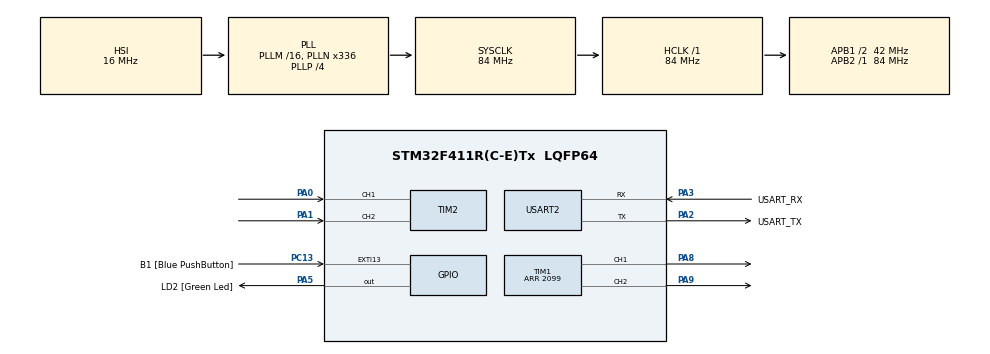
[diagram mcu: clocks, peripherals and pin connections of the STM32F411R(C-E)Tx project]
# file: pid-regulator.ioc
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Dma.Request0=USART2_TX
Dma.USART2_TX.0.Direction=DMA_MEMORY_TO_PERIPH
Dma.USART2_TX.0.FIFOMode=DMA_FIFOMODE_DISABLE
Dma.USART2_TX.0.Instance=DMA1_Stream6
Dma.USART2_TX.0.MemDataAlignment=DMA_MDATAALIGN_BYTE
Dma.USART2_TX.0.MemInc=DMA_MINC_ENABLE
Dma.USART2_TX.0.Mode=DMA_NORMAL
Dma.USART2_TX.0.PeriphDataAlignment=DMA_PDATAALIGN_BYTE
Dma.USART2_TX.0.PeriphInc=DMA_PINC_DISABLE
Dma.USART2_TX.0.Priority=DMA_PRIORITY_LOW
FREERTOS.Tasks01=defaultTask,24,128,StartDefaultTask,Default,NULL,Dynamic,NULL,NULL
Mcu.Family=STM32F4
Mcu.Name=STM32F411R(C-E)Tx
Mcu.Package=LQFP64
NVIC.DMA1_Stream6_IRQn=true\:5\:0\:false\:false\:true\:true\:false\:true\:true
NVIC.PriorityGroup=NVIC_PRIORITYGROUP_4
NVIC.TIM3_IRQn=true\:15\:0\:false\:false\:true\:false\:false\:true\:true
NVIC.TimeBase=TIM3_IRQn
NVIC.TimeBaseIP=TIM3
NVIC.USART2_IRQn=true\:5\:0\:false\:false\:true\:true\:true\:true\:true
PA0-WKUP.GPIO_PuPd=GPIO_PULLUP
PA0-WKUP.Signal=S_TIM2_CH1_ETR
PA1.GPIO_PuPd=GPIO_PULLUP
PA1.Signal=S_TIM2_CH2
PA13.GPIO_Label=TMS
PA13.Mode=Serial_Wire
PA13.Signal=SYS_JTMS-SWDIO
PA14.GPIO_Label=TCK
PA14.Mode=Serial_Wire
PA14.Signal=SYS_JTCK-SWCLK
PA2.GPIO_Label=USART_TX
PA2.Mode=Asynchronous
PA2.Signal=USART2_TX
PA3.GPIO_Label=USART_RX
PA3.Mode=Asynchronous
PA3.Signal=USART2_RX
PA5.GPIO_Label=LD2 [Green Led]
PA5.Signal=GPIO_Output
PA8.Signal=S_TIM1_CH1
PA9.Signal=S_TIM1_CH2
PB3.GPIO_Label=SWO
PB3.Signal=SYS_JTDO-SWO
PC13-ANTI_TAMP.GPIO_Label=B1 [Blue PushButton]
PC13-ANTI_TAMP.GPIO_ModeDefaultEXTI=GPIO_MODE_IT_FALLING
PC13-ANTI_TAMP.Signal=GPXTI13
PC14-OSC32_IN.Mode=LSE-External-Oscillator
PC14-OSC32_IN.Signal=RCC_OSC32_IN
PC15-OSC32_OUT.Mode=LSE-External-Oscillator
PC15-OSC32_OUT.Signal=RCC_OSC32_OUT
PH0\ -\ OSC_IN.Mode=HSE-External-Oscillator
PH0\ -\ OSC_IN.Signal=RCC_OSC_IN
PH1\ -\ OSC_OUT.Mode=HSE-External-Oscillator
PH1\ -\ OSC_OUT.Signal=RCC_OSC_OUT
ProjectManager.HeapSize=0x200
ProjectManager.StackSize=0x400
ProjectManager.TargetToolchain=CMake
RCC.48MHZClocksFreq_Value=84000000
RCC.AHBFreq_Value=84000000
RCC.APB1CLKDivider=RCC_HCLK_DIV2
RCC.APB1Freq_Value=42000000
RCC.APB1TimFreq_Value=84000000
RCC.APB2Freq_Value=84000000
RCC.APB2TimFreq_Value=84000000
RCC.CortexFreq_Value=84000000
RCC.FLatency-AdvancedSettings=FLASH_LATENCY_2
RCC.HCLKFreq_Value=84000000
RCC.HSE_VALUE=8000000
RCC.HSI_VALUE=16000000
RCC.PLLN=336
RCC.PLLP=RCC_PLLP_DIV4
RCC.SYSCLKFreq_VALUE=84000000
RCC.SYSCLKSource=RCC_SYSCLKSOURCE_PLLCLK
RCC.VCOOutputFreq_Value=336000000
SH.S_TIM1_CH1.0=TIM1_CH1,PWM Generation1 CH1
SH.S_TIM1_CH2.0=TIM1_CH2,PWM Generation2 CH2
SH.S_TIM2_CH1_ETR.0=TIM2_CH1,Encoder_Interface
SH.S_TIM2_CH2.0=TIM2_CH2,Encoder_Interface
TIM1.Channel-PWM\ Generation1\ CH1=TIM_CHANNEL_1
TIM1.Channel-PWM\ Generation2\ CH2=TIM_CHANNEL_2
TIM1.Period=2099
TIM2.EncoderMode=TIM_ENCODERMODE_TI12
USART2.VirtualMode=VM_ASYNC
VP_FREERTOS_VS_CMSIS_V2.Mode=CMSIS_V2
VP_SYS_VS_tim3.Mode=TIM3
board=NUCLEO-F411RE

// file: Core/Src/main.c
/* USER CODE BEGIN Header */
/**
  ******************************************************************************
  * @file           : main.c
  * @brief          : Main program body
  ******************************************************************************
  * @attention
  *
  * Copyright (c) 2026 STMicroelectronics.
  * All rights reserved.
  *
  * This software is licensed under terms that can be found in the LICENSE file
  * in the root directory of this software component.
  * If no LICENSE file comes with this software, it is provided AS-IS.
  *
  ******************************************************************************
  */
/* USER CODE END Header */
#include "main.h"
#include "cmsis_os.h"
#include "dma.h"
#include "tim.h"
#include "usart.h"
#include "gpio.h"

void SystemClock_Config(void);
void MX_FREERTOS_Init(void);

int main(void)
{

  /* MCU Configuration--------------------------------------------------------*/

  /* Reset of all peripherals, Initializes the Flash interface and the Systick. */
  HAL_Init();

  /* Configure the system clock */
  SystemClock_Config();

  /* Initialize all configured peripherals */
  MX_GPIO_Init();
  MX_DMA_Init();
  MX_TIM1_Init();
  MX_TIM2_Init();
  MX_USART2_UART_Init();
  /* USER CODE BEGIN 2 */
  HAL_TIM_Encoder_Start(&htim2, TIM_CHANNEL_ALL);
  /* USER CODE END 2 */

  /* Init scheduler */
  osKernelInitialize();  /* Call init function for freertos objects (in cmsis_os2.c) */
  MX_FREERTOS_Init();

  /* Start scheduler */
  osKernelStart();

  /* We should never get here as control is now taken by the scheduler */

  /* Infinite loop */
  while (1)
  {

  }
}

void SystemClock_Config(void)
{
  RCC_OscInitTypeDef RCC_OscInitStruct = {0};
  RCC_ClkInitTypeDef RCC_ClkInitStruct = {0};

  /** Configure the main internal regulator output voltage
  */
  __HAL_RCC_PWR_CLK_ENABLE();
  __HAL_PWR_VOLTAGESCALING_CONFIG(PWR_REGULATOR_VOLTAGE_SCALE1);

  /** Initializes the RCC Oscillators according to the specified parameters
  * in the RCC_OscInitTypeDef structure.
  */
  RCC_OscInitStruct.OscillatorType = RCC_OSCILLATORTYPE_HSI;
  RCC_OscInitStruct.HSIState = RCC_HSI_ON;
  RCC_OscInitStruct.HSICalibrationValue = RCC_HSICALIBRATION_DEFAULT;
  RCC_OscInitStruct.PLL.PLLState = RCC_PLL_ON;
  RCC_OscInitStruct.PLL.PLLSource = RCC_PLLSOURCE_HSI;
  RCC_OscInitStruct.PLL.PLLM = 16;
  RCC_OscInitStruct.PLL.PLLN = 336;
  RCC_OscInitStruct.PLL.PLLP = RCC_PLLP_DIV4;
  RCC_OscInitStruct.PLL.PLLQ = 4;
  if (HAL_RCC_OscConfig(&RCC_OscInitStruct) != HAL_OK)
  {
    Error_Handler();
  }

  /** Initializes the CPU, AHB and APB buses clocks
  */
  RCC_ClkInitStruct.ClockType = RCC_CLOCKTYPE_HCLK|RCC_CLOCKTYPE_SYSCLK
                              |RCC_CLOCKTYPE_PCLK1|RCC_CLOCKTYPE_PCLK2;
  RCC_ClkInitStruct.SYSCLKSource = RCC_SYSCLKSOURCE_PLLCLK;
  RCC_ClkInitStruct.AHBCLKDivider = RCC_SYSCLK_DIV1;
  RCC_ClkInitStruct.APB1CLKDivider = RCC_HCLK_DIV2;
  RCC_ClkInitStruct.APB2CLKDivider = RCC_HCLK_DIV1;

  if (HAL_RCC_ClockConfig(&RCC_ClkInitStruct, FLASH_LATENCY_2) != HAL_OK)
  {
    Error_Handler();
  }
}

/* USER CODE BEGIN 4 */

int __io_putchar(int ch)
{
  HAL_UART_Transmit(&huart2, (uint8_t *)&ch, 1, 100);
  return ch;
}

/* USER CODE END 4 */

void HAL_TIM_PeriodElapsedCallback(TIM_HandleTypeDef *htim)
{
  if (htim->Instance == TIM3)
  {
    HAL_IncTick();
  }
}

void Error_Handler(void)
{
  __disable_irq();
  while (1)
  {
  }
}

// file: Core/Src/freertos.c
/* USER CODE BEGIN Header */
/**

---

* File Name          : freertos.c
* Description        : Code for freertos applications

---

* @attention
*
* Copyright (c) 2026 STMicroelectronics.
* All rights reserved.
*
* This software is licensed under terms that can be found in the LICENSE file
* in the root directory of this software component.
* If no LICENSE file comes with this software, it is provided AS-IS.
*

---

*/
/* USER CODE END Header */

#include "FreeRTOS.h"
#include "task.h"
#include "main.h"
#include "cmsis_os.h"

/* USER CODE BEGIN Includes */
#include <stdio.h>

#include "global_vars.h"
#include "tim.h"
#include "hardware_layer/motor.h"
#include "logger/logger.h"
#include "application_layer/position_controller.h"
/* USER CODE END Includes */

/* USER CODE BEGIN Variables */

osThreadId_t pidTargetHandle;
const osThreadAttr_t pidTarget_attributes = {
.name = "pidTarget",
.stack_size = 128 * 4,
.priority = (osPriority_t) osPriorityNormal,
};

osThreadId_t pidTaskHandle;
const osThreadAttr_t pidTask_attributes = {
.name = "pidTask",
.stack_size = 1024,
.priority = (osPriority_t) osPriorityNormal,
};

osThreadId_t defaultTaskHandle;
const osThreadAttr_t defaultTask_attributes = {
.name = "defaultTask",
.stack_size = 1024,
.priority = (osPriority_t) osPriorityNormal,
};

/* USER CODE END Variables */
/* Definitions for defaultTask */
osThreadId_t defaultTaskHandle;

/* USER CODE BEGIN FunctionPrototypes */
void StartPIDTarget(void *argument);
void StartPIDTask(void *argument);
/* USER CODE END FunctionPrototypes */

void StartDefaultTask(void *argument);

void MX_FREERTOS_Init(void); /* (MISRA C 2004 rule 8.1) */

void MX_FREERTOS_Init(void) {

  /* Create the thread(s) */
  /* creation of defaultTask */
  defaultTaskHandle = osThreadNew(StartDefaultTask, NULL, &defaultTask_attributes);

  /* USER CODE BEGIN RTOS_THREADS */
  pidTargetHandle = osThreadNew(
  StartPIDTarget,
  NULL,
  &pidTarget_attributes
  );

  pidTaskHandle = osThreadNew(
  StartPIDTask,
  NULL,
  &pidTask_attributes
  );

  Logger_Init();

  if (pidTargetHandle == NULL || pidTaskHandle == NULL)
  {
  Error_Handler();
  }
  /* USER CODE END RTOS_THREADS */

}

void StartDefaultTask(void *argument)
{
  /* USER CODE BEGIN StartDefaultTask */
  /* Infinite loop */
  for(;;)
  {
    osDelay(1000000);
  }
  /* USER CODE END StartDefaultTask */
}

/* USER CODE BEGIN Application */
void StartPIDTarget(void *argument)
{
  for (;;)
  {
    g_target = (g_target == (int8_t)50)
                   ? (int8_t)-50
                   : (int8_t)50;

    osDelay(3000);
  }

}

// Временный тест разомкнутого контура: импульсы ±u, лог "OL|u|pos" каждые 10 мс.
#define MOTOR_OPEN_LOOP_TEST 0

#if MOTOR_OPEN_LOOP_TEST
static void OpenLoopStep(float u, uint32_t ms)
{
  Motor_SetOutput(u);
  for (uint32_t t = 0; t < ms; t += 10)
  {
    Log_Write("OL|%d|%ld", (int)u, (long)(int32_t)__HAL_TIM_GET_COUNTER(&htim2));
    osDelay(10);
  }
}
#endif

void StartPIDTask(void *argument)
{
#if MOTOR_OPEN_LOOP_TEST
  Motor_Init();
  static const float levels[] = {55.0f, 60.0f, 65.0f, 70.0f, 75.0f, 80.0f};
  for (;;)
  {
    for (uint32_t i = 0; i < sizeof(levels) / sizeof(levels[0]); ++i)
    {
      OpenLoopStep(0.0f, 700);
      OpenLoopStep(levels[i], 200);
      OpenLoopStep(0.0f, 700);
      OpenLoopStep(-levels[i], 200);
    }
  }
#endif
  // Initialize ADRC.

  PositionController_Init();

  uint32_t wake_tick = osKernelGetTickCount();

  for (;;)
  {
    float u = PositionController_Update(
        g_target,
        (int32_t)__HAL_TIM_GET_COUNTER(&htim2)
    );

    Motor_SetOutput(u);

    // Строгий период: osDelay отсчитывал бы от конца итерации.
    wake_tick += POSITION_CONTROLLER_PERIOD_MS;
    osDelayUntil(wake_tick);
  }

}

/* USER CODE END Application */
